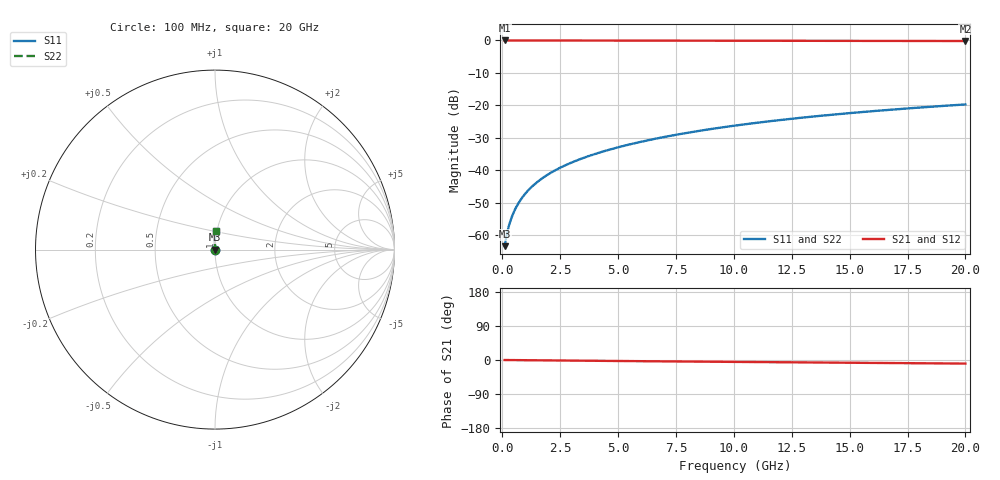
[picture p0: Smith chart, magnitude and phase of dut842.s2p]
! Touchstone file exported from HFSS 2024.1.0
!  File:  C:/UserFiles/LocalFiles/RDL_TSV_Batchsim/temp_RDL_top_842_1779855328.aedt
!  Generated:  12:17:39 PM May 27, 2026
!  Design:  RDL_top
!  Project:  temp_RDL_top_842_1779855328
!  Setup:  Setup1
!  Solution:  Sweep
! Variables:
!  dtsv = 10.80580581um
!  hbump = 3um
!  htsv = 97.87um
!  ldown = 100um
!  lrdl = 108.65um
!  p = 40
!  p1 = 51.59um
!  rhole = 1um
!  t = 450um
!  tdown = 3.915915916um
!  trdl = 4.87um
!  wdown = 15.38538539um
!  wrdl = 25.63um
# GHz S MA R 50.000000
! Terminal data exported
! Port[1] = Box2_T1
! Port[2] = Box2_T2
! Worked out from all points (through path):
!   200 points, 100 MHz to 20 GHz, reference 50 ohm
!   highest |S21| = 0.00 dB at 100 MHz (marker M1); lowest = -0.2 dB at 20 GHz (marker M2)
!   group delay of S21, straight-line fit = 1.29 ps
!   lowest |S11| = -63.4 dB at 100 MHz (marker M3), VSWR 1.00, Z = 50 + j0.0476 ohm
!   |S11| at or under -10 dB: start of sweep to end of sweep
!   |S22| runs from -63.4 to -19.7 dB; largest |S21 - S12| = 3.3e-15
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0.1  0.000675 44.8  0.9995 -0.1  0.9995 -0.1  0.000675 44.8
! Gamma 0 0 0 0
! Port Impedance 50 0 50 0
0.2  0.001055 61.1  0.9995 -0.1  0.9995 -0.1  0.001055 61.1
0.3  0.001455 68.6  0.9994 -0.2  0.9994 -0.2  0.001455 68.6
0.4  0.001861 73.1  0.9994 -0.2  0.9994 -0.2  0.001861 73.1
0.5  0.002273 76.1  0.9994 -0.3  0.9994 -0.3  0.002273 76.1
0.6  0.002689 78.3  0.9993 -0.3  0.9993 -0.3  0.002689 78.3
0.8  0.003531 81.3  0.9993 -0.4  0.9993 -0.4  0.003531 81.3
1.1  0.00481 84.0  0.9992 -0.6  0.9992 -0.6  0.00481 84.0
1.5  0.006534 86.1  0.999 -0.8  0.999 -0.8  0.006534 86.1
1.8  0.00784 87.2  0.9988 -1.0  0.9988 -1.0  0.00784 87.2
2.1  0.009156 88.0  0.9986 -1.1  0.9986 -1.1  0.009156 88.0
2.7  0.01182 89.3  0.9981 -1.5  0.9981 -1.5  0.01182 89.3
3.5  0.01545 90.4  0.9973 -1.9  0.9973 -1.9  0.01545 90.4
4.2  0.01871 91.1  0.9965 -2.2  0.9965 -2.2  0.01871 91.1
5  0.02253 91.7  0.9956 -2.7  0.9956 -2.7  0.02253 91.7
6.8  0.03152 92.2  0.9934 -3.5  0.9934 -3.5  0.03152 92.2
8.4  0.03987 92.1  0.9914 -4.3  0.9914 -4.3  0.03987 92.1
10.1  0.04899 91.5  0.9895 -5.1  0.9895 -5.1  0.04899 91.5
11.7  0.05771 90.8  0.9877 -5.8  0.9877 -5.8  0.05771 90.8
13.4  0.06705 89.8  0.986 -6.5  0.986 -6.5  0.06705 89.8
16.7  0.08519 87.9  0.9828 -8.0  0.9828 -8.0  0.08519 87.9
20  0.1032 85.9  0.9798 -9.4  0.9798 -9.4  0.1032 85.9
